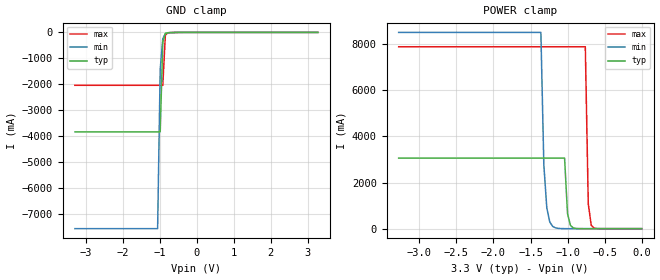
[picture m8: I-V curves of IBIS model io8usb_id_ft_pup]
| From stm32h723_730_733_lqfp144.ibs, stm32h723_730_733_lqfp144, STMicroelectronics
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|   Model io8usb_id_ft_pup
[Model]  io8usb_id_ft_pup
Model_type Input
Polarity   Inverting
Vinl =   0.990000V
Vinh =   2.310000V
C_comp   3.457900pF   3.418200pF   3.529100pF
[Temperature Range]   25.000000   0.140000k   -40.000000
[Pullup Reference]   3.300000V   3.000000V   3.600000V
[Pulldown Reference]   0.0V   0.0V   0.0V
[POWER Clamp Reference]   3.300000V   3.000000V   3.600000V
[GND Clamp Reference]   0.0V   0.0V   0.0V
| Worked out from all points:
|   GND clamp passes 1 mA (typ) near -0.48 V on its own axis
|   POWER clamp passes 1 mA (typ) near -0.83 V on its own axis
[GND_clamp]
|Voltage   I(typ)   I(min)   I(max)
-3.3V     -3.828A    -7.552A    -2.036A
-1.06V    -3.828A    -7.552A    -2.036A
-990mV    -3.828A    -1.425A    -2.036A
-920mV    -368.6mA   -243.1mA   -2.036A
-850mV    -40.93mA   -46.27mA   -98.44mA
-780mV    -13.14mA   -14.53mA   -15.81mA
-500mV    -1.208mA   -1.769mA   -1.059mA
3.28V     0A         0A         0A
[POWER_clamp]
|Voltage   I(typ)   I(min)   I(max)
-3.28V    3.058A     8.509A     7.885A
-1.36V    3.058A     8.509A     7.885A
-1.32V    3.058A     2.767A     7.885A
-1.28V    3.058A     899.5mA    7.885A
-1.24V    3.058A     292.4mA    7.885A
-1.04V    3.058A     1.064mA    7.885A
-1V       644.7mA    346.8uA    7.885A
-960mV    135.9mA    113.6uA    7.885A
-760mV    58.26uA    1.633uA    7.885A
-720mV    13.52uA    1.345uA    1.077A
-680mV    4.037uA    1.243uA    147.1mA
0V        0A         0A         0A
